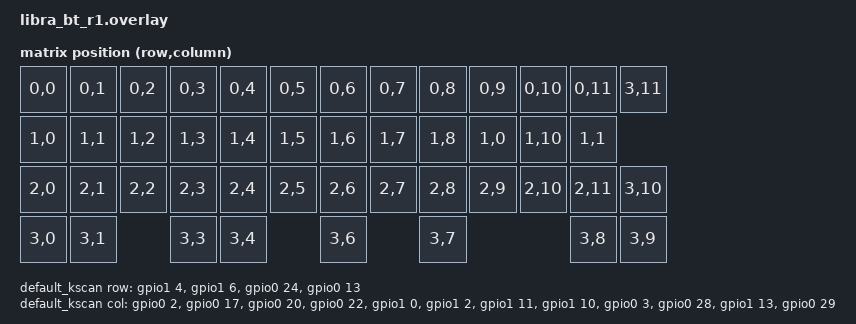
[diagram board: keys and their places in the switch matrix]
#include <dt-bindings/zmk/matrix_transform.h> 

/ {
    chosen {
        zmk,kscan = &default_kscan;
        zmk,matrix_transform = &default_transform;
    };

    default_kscan: kscan {
        compatible = "zmk,kscan-gpio-matrix";
        diode-direction = "col2row";
        wakeup-source;

        // JOY X        AI7 P0.31
        // JOY Y        AI6 P0.30
        // JOY BTN      P0.07

        // ARGB         P0.06
        // ARGB EN      P0.26

        // BAT VOL      AI2 P0.04


        // ROW 1        P1.04
        // ROW 2        P1.06
        // ROW 3        P0.24
        // ROW 4        P0.13

        row-gpios
            = <&gpio1 4  (GPIO_ACTIVE_HIGH | GPIO_PULL_DOWN)>
            , <&gpio1 6  (GPIO_ACTIVE_HIGH | GPIO_PULL_DOWN)>
            , <&gpio0 24 (GPIO_ACTIVE_HIGH | GPIO_PULL_DOWN)>
            , <&gpio0 13 (GPIO_ACTIVE_HIGH | GPIO_PULL_DOWN)>
            ;

        // COL 1        AI0 P0.02
        // COL 2        P17 P0.17
        // COL 3        P0.20
        // COL 4        P0.22
        // COL 5        P1.00
        // COL 6        P1.02
        // COL 7        P1.11
        // COL 8        P1.10
        // COL 9        P0.03
        // COL 10       AI4 P0.28
        // COL 11       P1.13
        // COL 12       AI5 P0.29

        col-gpios
            = <&gpio0 2  GPIO_ACTIVE_HIGH>
            , <&gpio0 17 GPIO_ACTIVE_HIGH>
            , <&gpio0 20 GPIO_ACTIVE_HIGH>
            , <&gpio0 22 GPIO_ACTIVE_HIGH>
            , <&gpio1 0  GPIO_ACTIVE_HIGH>
            , <&gpio1 2  GPIO_ACTIVE_HIGH>
            , <&gpio1 11 GPIO_ACTIVE_HIGH>
            , <&gpio1 10 GPIO_ACTIVE_HIGH>
            , <&gpio0 3  GPIO_ACTIVE_HIGH>
            , <&gpio0 28 GPIO_ACTIVE_HIGH>
            , <&gpio1 13 GPIO_ACTIVE_HIGH>
            , <&gpio0 29 GPIO_ACTIVE_HIGH>
            ;
    };


		// KC_ESC,  KC_Q,    KC_W,    KC_E,    KC_R,    KC_T,   /**/  KC_Y,    KC_U,    KC_I,    KC_O,    KC_P,    KC_BSPC,  KC_BSPC, 
		// KC_TAB,  KC_A,    KC_S,    KC_D,    KC_F,    KC_G,   /**/  KC_H,    KC_J,    KC_K,    KC_L,    KC_SCLN, KC_ENTER, 
		// KC_LSFT, KC_Z,    KC_X,    KC_C,    KC_V,    KC_B,   /**/  KC_NO,   KC_N,    KC_M,    KC_COMM, KC_DOT,  KC_SLSH, KC_RSFT, 
		// KC_LGUI, KC_LALT, 		   MO(1),   KC_SPC, 	     /**/  KC_SPC,   		 MO(2),				        KC_LBRC, KC_RBRC

    default_transform: keymap_transform0 {
        compatible = "zmk,matrix-transform";
        columns = <12>; // Length of the "col-gpios" array
        rows = <4>; // Length of the "row-gpios" array
        map = <
            RC(0,0) RC(0,1) RC(0,2) RC(0,3) RC(0,4) RC(0,5) RC(0,6) RC(0,7) RC(0,8) RC(0,9) RC(0,10) RC(0,11) RC(3,11)
            RC(1,0) RC(1,1) RC(1,2) RC(1,3) RC(1,4) RC(1,5) RC(1,6) RC(1,7) RC(1,8) RC(1,0) RC(1,10) RC(1,1) 
            RC(2,0) RC(2,1) RC(2,2) RC(2,3) RC(2,4) RC(2,5) RC(2,6) RC(2,7) RC(2,8) RC(2,9) RC(2,10) RC(2,11) RC(3,10)
            RC(3,0) RC(3,1)         RC(3,3) RC(3,4)         RC(3,6)         RC(3,7)                  RC(3,8)  RC(3,9)
        >;
    };

};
